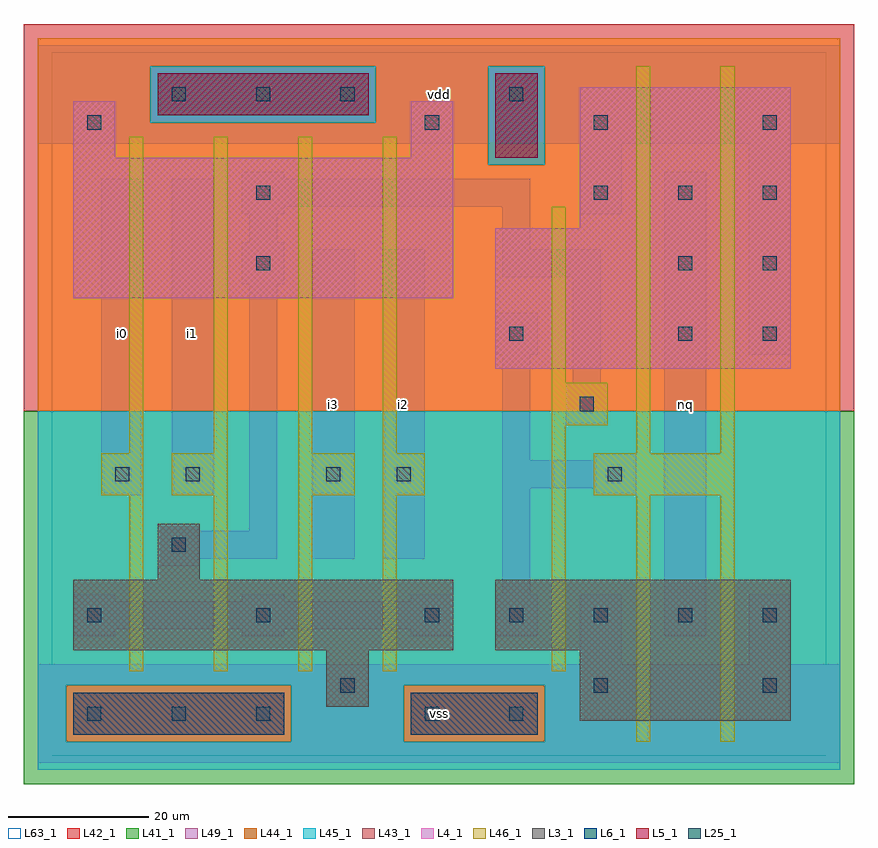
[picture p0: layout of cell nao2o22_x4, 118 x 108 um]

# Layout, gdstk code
import gdstk
lib = gdstk.Library(unit=1e-6, precision=1e-09)
def R(c, l, rs):  # rectangles x0, y0, x1, y1
    for r in rs: c.add(gdstk.rectangle(r[:2], r[2:], *l))
def A(c, l, x, y, w, h, nx, ny, dx, dy):  # array of equal rectangles
    R(c, l, [(x+i*dx, y+j*dy, x+i*dx+w, y+j*dy+h) for i in range(nx) for j in range(ny)])
L3_1 = (3, 1)
L4_1 = (4, 1)
L5_1 = (5, 1)
L6_1 = (6, 1)
L25_1 = (25, 1)
L41_1 = (41, 1)
L42_1 = (42, 1)
L43_1 = (43, 1)
L44_1 = (44, 1)
L45_1 = (45, 1)
L46_1 = (46, 1)
L49_1 = (49, 1)
L63_1 = (63, 1)

nao2o22_x4 = lib.new_cell('nao2o22_x4')
R(nao2o22_x4, L3_1, [(75,5,105,15), (39,7,45,15), (3,15,57,25), (63,15,105,25), (15,25,21,33)])
R(nao2o22_x4, L4_1, [(63,55,105,75), (3,65,57,85), (75,75,105,95), (3,85,9,93), (51,85,57,93)])
R(nao2o22_x4, L5_1, [(63,85,69,97), (15,91,45,97)])
R(nao2o22_x4, L6_1, [(3,3,33,9), (51,3,69,9)])
A(nao2o22_x4, L25_1, 5, 5, 2, 2, 3, 1, 12, 0)
A(nao2o22_x4, L25_1, 5, 19, 2, 2, 3, 1, 24, 0)
A(nao2o22_x4, L25_1, 65, 19, 2, 2, 4, 1, 12, 0)
A(nao2o22_x4, L25_1, 77, 79, 2, 2, 3, 1, 12, 0)
A(nao2o22_x4, L25_1, 53, 89, 2, 2, 3, 1, 24, 0)
A(nao2o22_x4, L25_1, 17, 93, 2, 2, 3, 1, 12, 0)
R(nao2o22_x4, L25_1, [(53,5,55,7), (65,5,67,7), (41,9,43,11), (77,9,79,11), (101,9,103,11), (17,29,19,31), (9,39,11,41), (19,39,21,41), (39,39,41,41), (49,39,51,41), (79,39,81,41), (75,49,77,51), (65,59,67,61), (89,59,91,61), (101,59,103,61), (29,69,31,71), (89,69,91,71), (101,69,103,71), (29,79,31,81), (5,89,7,91), (65,93,67,95)])
R(nao2o22_x4, L41_1, [(-4,-4,114,49)])
R(nao2o22_x4, L42_1, [(-4,49,114,104)])
R(nao2o22_x4, L43_1, [(3,3,33,9), (51,3,69,9), (75,5,105,15), (39,7,45,15), (3,15,57,25), (63,15,105,25), (15,25,21,33), (63,55,105,75), (3,65,57,85), (75,75,105,95), (3,85,9,93), (51,85,57,93), (63,85,69,97), (15,91,45,97)])
R(nao2o22_x4, L44_1, [(2,2,34,10), (50,2,70,10), (-2,49,112,84), (-2,84,62,90), (70,84,112,98), (-2,90,14,98), (46,90,62,98), (-2,98,112,102)])
R(nao2o22_x4, L45_1, [(-2,-2,112,2), (-2,2,2,10), (34,2,50,10), (70,2,112,10), (-2,10,112,49), (62,84,70,98), (14,90,46,98)])
A(nao2o22_x4, L46_1, 11, 12, 2, 25, 4, 1, 12, 0)
A(nao2o22_x4, L46_1, 11, 43, 2, 45, 4, 1, 12, 0)
R(nao2o22_x4, L46_1, [(83,2,85,37), (95,2,97,37), (71,12,73,47), (7,37,13,43), (17,37,25,43), (35,37,43,43), (47,37,53,43), (77,37,97,43), (83,43,85,98), (95,43,97,98), (71,47,79,53), (71,53,73,78)])
A(nao2o22_x4, L49_1, 3, 17, 6, 1, 3, 2, 24, 5)
R(nao2o22_x4, L49_1, [(-2,-1,112,13), (75,13,81,23), (99,13,105,23), (63,17,69,23), (87,17,93,83), (3,18,57,22), (64,23,68,38), (15,27,21,28), (15,28,32,32), (37,28,43,72), (47,28,53,72), (15,32,21,33), (28,32,32,67), (7,37,13,82), (17,37,23,82), (77,37,83,38), (64,38,83,42), (64,42,68,57), (77,42,83,43), (73,47,79,53), (74,53,78,68), (63,57,69,63), (99,57,105,87), (27,67,33,73), (64,68,78,72), (64,72,68,78), (28,73,32,77), (27,77,33,78), (75,77,81,87), (27,78,68,82), (27,82,33,83), (-2,87,112,101)])
R(nao2o22_x4, L63_1, [(0,0,110,100)])
nao2o22_x4.add(gdstk.Label('i1', (20,60), layer=49, texttype=1))
nao2o22_x4.add(gdstk.Label('i0', (10,60), layer=49, texttype=1))
nao2o22_x4.add(gdstk.Label('i1', (20,60), layer=49, texttype=1))
nao2o22_x4.add(gdstk.Label('i0', (10,60), layer=49, texttype=1))
nao2o22_x4.add(gdstk.Label('i3', (40,50), layer=49, texttype=1))
nao2o22_x4.add(gdstk.Label('i2', (50,50), layer=49, texttype=1))
nao2o22_x4.add(gdstk.Label('i2', (50,50), layer=49, texttype=1))
nao2o22_x4.add(gdstk.Label('i3', (40,50), layer=49, texttype=1))
nao2o22_x4.add(gdstk.Label('vss', (55,6), layer=49, texttype=1))
nao2o22_x4.add(gdstk.Label('vss', (55,6), layer=49, texttype=1))
nao2o22_x4.add(gdstk.Label('vdd', (55,94), layer=49, texttype=1))
nao2o22_x4.add(gdstk.Label('vdd', (55,94), layer=49, texttype=1))
nao2o22_x4.add(gdstk.Label('nq', (90,50), layer=49, texttype=1))
nao2o22_x4.add(gdstk.Label('nq', (90,50), layer=49, texttype=1))

lib.write_gds('nao2o22_x4.gds')
